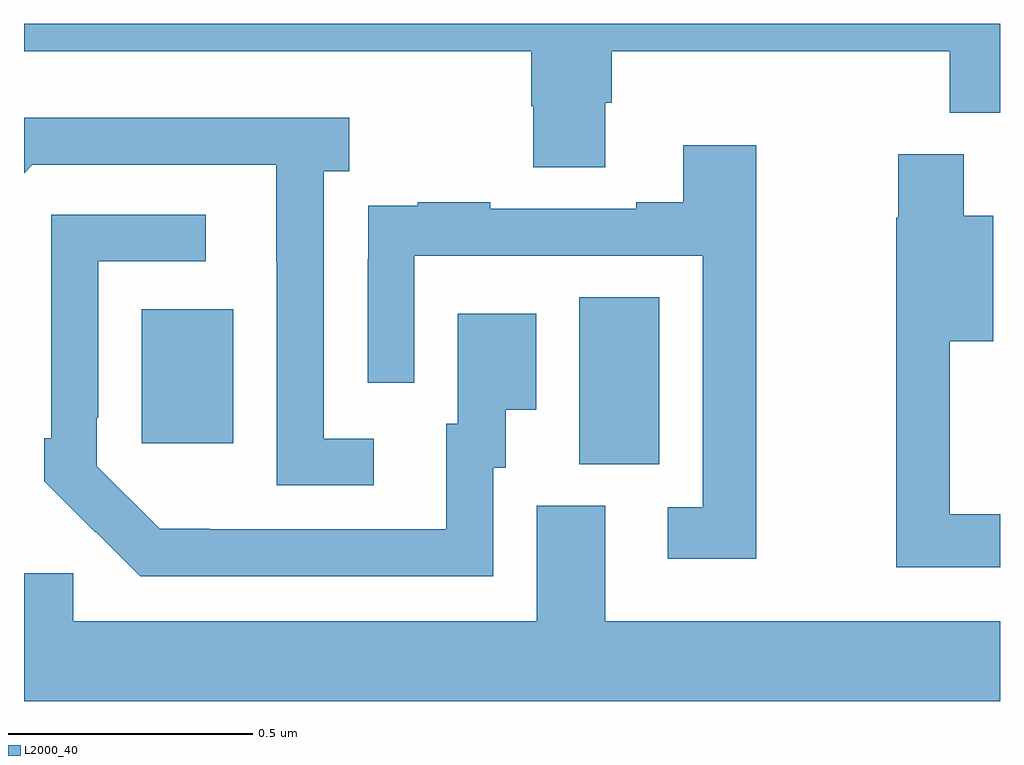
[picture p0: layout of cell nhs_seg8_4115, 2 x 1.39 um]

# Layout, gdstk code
import gdstk
lib = gdstk.Library(unit=1e-6, precision=1e-09)
def R(c, l, rs):  # rectangles x0, y0, x1, y1
    for r in rs: c.add(gdstk.rectangle(r[:2], r[2:], *l))
def P(c, l, *ps):  # polygons
    for p in ps: c.add(gdstk.Polygon(p, *l))
L2000_40 = (2000, 40)

nhs_seg8_4115 = lib.new_cell('nhs_seg8_4115')
R(nhs_seg8_4115, L2000_40, [(167.138,1104.997,167.302,1105.34), (166.241,1105.041,166.429,1105.315)])
P(nhs_seg8_4115, L2000_40, [(167.191,1105.738),(167.204,1105.738),(167.204,1105.844),(167.897,1105.844),(167.897,1105.718),(168,1105.718),(168,1105.9),(166,1105.9),(166,1105.844),(167.039,1105.844),(167.039,1105.731),(167.044,1105.731),(167.044,1105.606),(167.191,1105.606)],
  [(166.717,1105.05),(166.614,1105.05),(166.614,1105.598),(166.666,1105.598),(166.666,1105.708),(166,1105.708),(166,1105.594),(166.017,1105.611),(166.517,1105.611),(166.517,1105.411),(166.518,1105.411),(166.518,1104.954),(166.717,1104.954)],
  [(167.5,1105.651),(167.351,1105.651),(167.351,1105.534),(167.255,1105.534),(167.255,1105.521),(166.955,1105.521),(166.955,1105.534),(166.807,1105.534),(166.807,1105.527),(166.705,1105.527),(166.705,1105.418),(166.704,1105.418),(166.704,1105.164),(166.8,1105.164),(166.8,1105.425),(167.391,1105.425),(167.391,1104.909),(167.319,1104.909),(167.319,1104.804),(167.5,1104.804)],
  [(168,1104.895),(167.897,1104.895),(167.897,1105.25),(167.986,1105.25),(167.986,1105.507),(167.926,1105.507),(167.926,1105.633),(167.791,1105.633),(167.791,1105.503),(167.787,1105.503),(167.787,1104.786),(168,1104.786)],
  [(166.962,1104.99),(166.987,1104.99),(166.987,1105.109),(167.05,1105.109),(167.05,1105.306),(166.889,1105.306),(166.889,1105.08),(166.865,1105.08),(166.865,1104.864),(166.381,1104.864),(166.381,1104.865),(166.278,1104.865),(166.149,1104.993),(166.149,1105.093),(166.152,1105.093),(166.152,1105.413),(166.372,1105.413),(166.372,1105.509),(166.056,1105.509),(166.056,1105.051),(166.041,1105.051),(166.041,1104.963),(166.146,1104.858),(166.147,1104.859),(166.238,1104.768),(166.962,1104.768)],
  [(168,1104.676),(167.191,1104.676),(167.191,1104.912),(167.051,1104.912),(167.051,1104.676),(166.101,1104.676),(166.101,1104.774),(166,1104.774),(166,1104.512),(168,1104.512)])

lib.write_gds('nhs_seg8_4115.gds')
